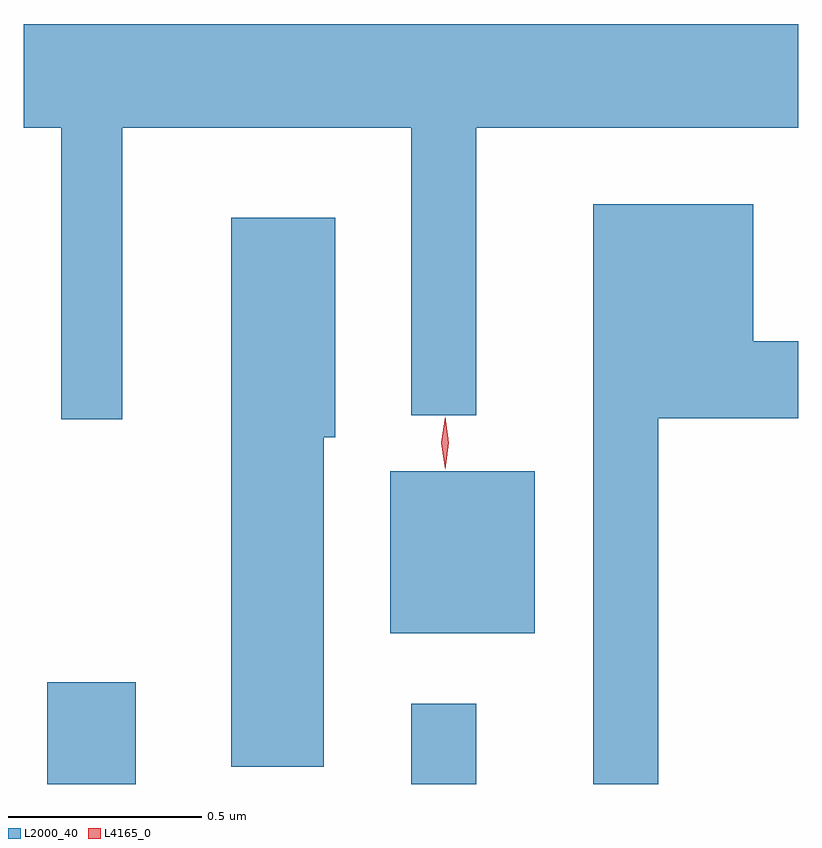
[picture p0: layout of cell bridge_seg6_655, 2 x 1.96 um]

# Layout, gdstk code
import gdstk
lib = gdstk.Library(unit=1e-6, precision=1e-09)
def R(c, l, rs):  # rectangles x0, y0, x1, y1
    for r in rs: c.add(gdstk.rectangle(r[:2], r[2:], *l))
def P(c, l, *ps):  # polygons
    for p in ps: c.add(gdstk.Polygon(p, *l))
L2000_40 = (2000, 40)
L4165_0 = (4165, 0)

bridge_seg6_655 = lib.new_cell('bridge_seg6_655')
R(bridge_seg6_655, L2000_40, [(282.861,1606.061,283.089,1606.324), (283.801,1606.061,283.969,1606.268), (283.746,1606.451,284.119,1606.869)])
P(bridge_seg6_655, L2000_40, [(283.054,1607.756),(283.801,1607.756),(283.801,1607.013),(283.969,1607.013),(283.969,1607.756),(284.8,1607.756),(284.8,1608.024),(282.8,1608.024),(282.8,1607.756),(282.896,1607.756),(282.896,1607.003),(283.054,1607.003)],
  [(284.439,1607.006),(284.8,1607.006),(284.8,1607.204),(284.684,1607.204),(284.684,1607.559),(284.271,1607.559),(284.271,1606.061),(284.439,1606.061)],
  [(283.574,1606.956),(283.604,1606.956),(283.604,1607.524),(283.336,1607.524),(283.336,1606.106),(283.574,1606.106)])
P(bridge_seg6_655, L4165_0, [(283.888,1606.874),(283.888,1606.874),(283.878,1606.942),(283.888,1607.01),(283.888,1607.01),(283.889,1607.01),(283.898,1606.942),(283.889,1606.874)])

lib.write_gds('bridge_seg6_655.gds')
